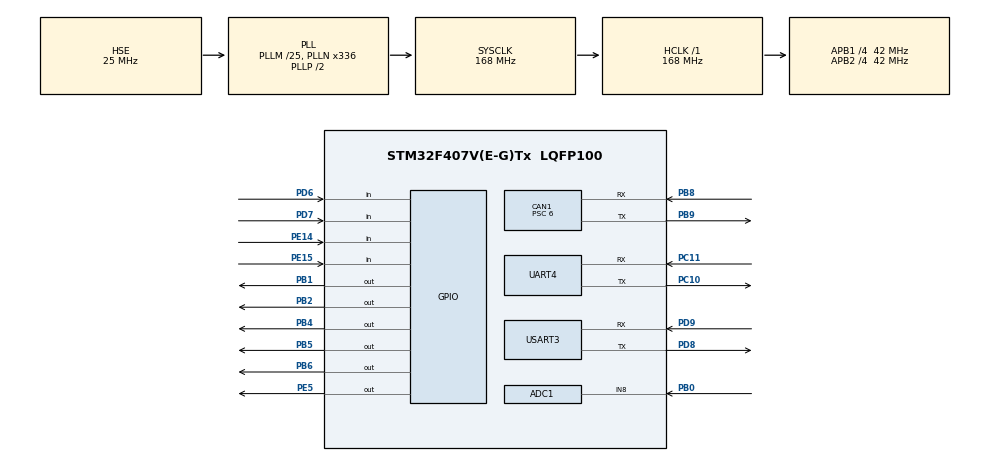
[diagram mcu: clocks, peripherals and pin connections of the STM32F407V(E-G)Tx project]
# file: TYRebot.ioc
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ADC1.Channel-0\#ChannelRegularConversion=ADC_CHANNEL_8
ADC1.ClockPrescaler=ADC_CLOCK_SYNC_PCLK_DIV4
ADC1.NbrOfConversionFlag=1
ADC1.Rank-0\#ChannelRegularConversion=1
ADC1.SamplingTime-0\#ChannelRegularConversion=ADC_SAMPLETIME_3CYCLES
ADC1.master=1
CAN1.BS1=CAN_BS1_6TQ
CAN1.BS2=CAN_BS2_7TQ
CAN1.CalculateTimeQuantum=142.85714285714286
CAN1.Prescaler=6
FREERTOS.Tasks01=CanTxDataTask,1,256,CanTxDataPro,Default,NULL,Dynamic,NULL,NULL;UartDataProTask,0,128,UartDataPro,Default,NULL,Dynamic,NULL,NULL;CanDataProTask,0,128,CanDataPro,Default,NULL,Dynamic,NULL,NULL;GetVoltageTask,-2,128,GetVoltagePro,Default,NULL,Dynamic,NULL,NULL;KeyScanTask,2,128,KeyScanPro,Default,NULL,Dynamic,NULL,NULL;UpLoadDataTask,-2,516,UpLoadDataPro,Default,NULL,Dynamic,NULL,NULL;SystemCheckTask,3,128,SystemCheckPro,Default,NULL,Dynamic,NULL,NULL
Mcu.Family=STM32F4
Mcu.Name=STM32F407V(E-G)Tx
Mcu.Package=LQFP100
NVIC.ADC_IRQn=true\:10\:0\:true\:false\:true\:false\:true\:true
NVIC.CAN1_RX0_IRQn=true\:7\:0\:true\:false\:true\:false\:true\:true
NVIC.PriorityGroup=NVIC_PRIORITYGROUP_4
NVIC.TIM3_IRQn=true\:9\:0\:true\:false\:true\:false\:true\:true
NVIC.TIM6_DAC_IRQn=true\:8\:0\:true\:false\:true\:false\:true\:true
NVIC.TIM7_IRQn=true\:0\:0\:false\:false\:true\:false\:false\:true
NVIC.TimeBase=TIM7_IRQn
NVIC.TimeBaseIP=TIM7
NVIC.UART4_IRQn=true\:6\:0\:true\:false\:true\:false\:true\:true
NVIC.USART3_IRQn=true\:5\:0\:true\:false\:true\:false\:true\:true
PA13.Mode=Serial_Wire
PA13.Signal=SYS_JTMS-SWDIO
PA14.Mode=Serial_Wire
PA14.Signal=SYS_JTCK-SWCLK
PB0.Signal=ADCx_IN8
PB1.GPIO_ModeDefaultOutputPP=GPIO_MODE_OUTPUT_PP
PB1.GPIO_PuPd=GPIO_PULLUP
PB1.GPIO_Speed=GPIO_SPEED_FREQ_LOW
PB1.PinState=GPIO_PIN_RESET
PB1.Signal=GPIO_Output
PB2.GPIO_ModeDefaultOutputPP=GPIO_MODE_OUTPUT_PP
PB2.GPIO_PuPd=GPIO_PULLUP
PB2.GPIO_Speed=GPIO_SPEED_FREQ_LOW
PB2.PinState=GPIO_PIN_RESET
PB2.Signal=GPIO_Output
PB4.GPIO_PuPd=GPIO_PULLUP
PB4.Signal=GPIO_Output
PB5.GPIO_PuPd=GPIO_PULLUP
PB5.Signal=GPIO_Output
PB6.GPIO_PuPd=GPIO_PULLUP
PB6.Signal=GPIO_Output
PB8.Mode=Master
PB8.Signal=CAN1_RX
PB9.Mode=Master
PB9.Signal=CAN1_TX
PC10.Mode=Asynchronous
PC10.Signal=UART4_TX
PC11.Mode=Asynchronous
PC11.Signal=UART4_RX
PD6.GPIO_PuPd=GPIO_PULLUP
PD6.Signal=GPIO_Input
PD7.GPIO_PuPd=GPIO_PULLUP
PD7.Signal=GPIO_Input
PD8.Mode=Asynchronous
PD8.Signal=USART3_TX
PD9.Mode=Asynchronous
PD9.Signal=USART3_RX
PE14.GPIO_PuPd=GPIO_PULLUP
PE14.Signal=GPIO_Input
PE15.GPIO_PuPd=GPIO_PULLUP
PE15.Signal=GPIO_Input
PE5.GPIO_ModeDefaultOutputPP=GPIO_MODE_OUTPUT_PP
PE5.GPIO_PuPd=GPIO_PULLUP
PE5.GPIO_Speed=GPIO_SPEED_FREQ_LOW
PE5.PinState=GPIO_PIN_RESET
PE5.Signal=GPIO_Output
PH0-OSC_IN.Mode=HSE-External-Oscillator
PH0-OSC_IN.Signal=RCC_OSC_IN
PH1-OSC_OUT.Mode=HSE-External-Oscillator
PH1-OSC_OUT.Signal=RCC_OSC_OUT
ProjectManager.HeapSize=0x200
ProjectManager.StackSize=0x400
ProjectManager.TargetToolchain=MDK-ARM V5
RCC.48MHZClocksFreq_Value=84000000
RCC.AHBFreq_Value=168000000
RCC.APB1CLKDivider=RCC_HCLK_DIV4
RCC.APB1Freq_Value=42000000
RCC.APB1TimFreq_Value=84000000
RCC.APB2CLKDivider=RCC_HCLK_DIV4
RCC.APB2Freq_Value=42000000
RCC.APB2TimFreq_Value=84000000
RCC.CortexFreq_Value=168000000
RCC.HCLKFreq_Value=168000000
RCC.HSE_VALUE=25000000
RCC.HSI_VALUE=16000000
RCC.LSE_VALUE=32768
RCC.PLLM=25
RCC.PLLN=336
RCC.PLLSourceVirtual=RCC_PLLSOURCE_HSE
RCC.SYSCLKFreq_VALUE=168000000
RCC.SYSCLKSource=RCC_SYSCLKSOURCE_PLLCLK
RCC.VCOOutputFreq_Value=336000000
SH.ADCx_IN8.0=ADC1_IN8,IN8
TIM3.Period=1000-1
TIM3.Prescaler=84-1
TIM6.Period=10000-1
TIM6.Prescaler=8400-1
UART4.VirtualMode=Asynchronous
USART3.VirtualMode=VM_ASYNC
VP_FREERTOS_VS_CMSIS_V1.Mode=CMSIS_V1
VP_SYS_VS_tim7.Mode=TIM7
VP_TIM3_VS_ClockSourceINT.Mode=Internal
VP_TIM6_VS_ClockSourceINT.Mode=Enable_Timer
board=custom

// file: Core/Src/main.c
/* USER CODE BEGIN Header */
/**
  ******************************************************************************
  * @file           : main.c
  * @brief          : Main program body
  ******************************************************************************
  * @attention
  *
  * <h2><center>&copy; Copyright (c) 2021 STMicroelectronics.
  * All rights reserved.</center></h2>
  *
  * This software component is licensed by ST under BSD 3-Clause license,
  * the "License"; You may not use this file except in compliance with the
  * License. You may obtain a copy of the License at:
  *                        opensource.org/licenses/BSD-3-Clause
  *
  ******************************************************************************
  */
/* USER CODE END Header */
#include "main.h"
#include "cmsis_os.h"
#include "adc.h"
#include "can.h"
#include "tim.h"
#include "usart.h"
#include "gpio.h"

/* USER CODE BEGIN Includes */
#include "user.h"
#include "usart.h"
/* USER CODE END Includes */

void SystemClock_Config(void);
void MX_FREERTOS_Init(void);

int main(void)
{

  /* MCU Configuration--------------------------------------------------------*/

  /* Reset of all peripherals, Initializes the Flash interface and the Systick. */
  HAL_Init();

  /* Configure the system clock */
  SystemClock_Config();

  /* Initialize all configured peripherals */
  MX_GPIO_Init();
  MX_USART3_UART_Init();
  MX_CAN1_Init();
  MX_UART4_Init();
  MX_TIM3_Init();
  MX_TIM6_Init();
  MX_ADC1_Init();
  /* USER CODE BEGIN 2 */
//  HAL_UART_Receive_IT(&huart3 ,Uart3RxBuffer,12);
//  HAL_UART_Receive_IT(&huart4 ,Uart4RxBuffer,12);
  HAL_TIM_Base_Start_IT(&htim6);
  HAL_TIM_Base_Start_IT(&htim3);
  HAL_CAN_ActivateNotification(&hcan1, CAN_IT_RX_FIFO0_MSG_PENDING);
  CAN_Config();
  __HAL_UART_ENABLE_IT(&huart3,UART_IT_RXNE);
  __HAL_UART_ENABLE_IT(&huart4,UART_IT_RXNE);
  UserInit();
  printf("Software was build at %s--%s!\n", __DATE__, __TIME__ );
  printf("System and Device initial OK!\n");
  /* USER CODE END 2 */

  /* Call init function for freertos objects (in freertos.c) */
  MX_FREERTOS_Init();
  /* Start scheduler */
  osKernelStart();

  /* We should never get here as control is now taken by the scheduler */
  /* Infinite loop */
  while (1)
  {

    /* USER CODE BEGIN 3 */
	 // inituser();
  }
  /* USER CODE END 3 */
}

void SystemClock_Config(void)
{
  RCC_OscInitTypeDef RCC_OscInitStruct = {0};
  RCC_ClkInitTypeDef RCC_ClkInitStruct = {0};

  /** Configure the main internal regulator output voltage
  */
  __HAL_RCC_PWR_CLK_ENABLE();
  __HAL_PWR_VOLTAGESCALING_CONFIG(PWR_REGULATOR_VOLTAGE_SCALE1);
  /** Initializes the RCC Oscillators according to the specified parameters
  * in the RCC_OscInitTypeDef structure.
  */
  RCC_OscInitStruct.OscillatorType = RCC_OSCILLATORTYPE_HSE;
  RCC_OscInitStruct.HSEState = RCC_HSE_ON;
  RCC_OscInitStruct.PLL.PLLState = RCC_PLL_ON;
  RCC_OscInitStruct.PLL.PLLSource = RCC_PLLSOURCE_HSE;
  RCC_OscInitStruct.PLL.PLLM = 25;
  RCC_OscInitStruct.PLL.PLLN = 336;
  RCC_OscInitStruct.PLL.PLLP = RCC_PLLP_DIV2;
  RCC_OscInitStruct.PLL.PLLQ = 4;
  if (HAL_RCC_OscConfig(&RCC_OscInitStruct) != HAL_OK)
  {
    Error_Handler();
  }
  /** Initializes the CPU, AHB and APB buses clocks
  */
  RCC_ClkInitStruct.ClockType = RCC_CLOCKTYPE_HCLK|RCC_CLOCKTYPE_SYSCLK
                              |RCC_CLOCKTYPE_PCLK1|RCC_CLOCKTYPE_PCLK2;
  RCC_ClkInitStruct.SYSCLKSource = RCC_SYSCLKSOURCE_PLLCLK;
  RCC_ClkInitStruct.AHBCLKDivider = RCC_SYSCLK_DIV1;
  RCC_ClkInitStruct.APB1CLKDivider = RCC_HCLK_DIV4;
  RCC_ClkInitStruct.APB2CLKDivider = RCC_HCLK_DIV4;

  if (HAL_RCC_ClockConfig(&RCC_ClkInitStruct, FLASH_LATENCY_5) != HAL_OK)
  {
    Error_Handler();
  }
}

void HAL_TIM_PeriodElapsedCallback(TIM_HandleTypeDef *htim)
{
  if (htim->Instance == TIM7) {
    HAL_IncTick();
  }
}

void Error_Handler(void)
{
}

/************************ (C) COPYRIGHT STMicroelectronics *****END OF FILE****/

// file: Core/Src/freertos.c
/* USER CODE BEGIN Header */
/**
  ******************************************************************************
  * File Name          : freertos.c
  * Description        : Code for freertos applications
  ******************************************************************************
  * @attention
  *
  * <h2><center>&copy; Copyright (c) 2021 STMicroelectronics.
  * All rights reserved.</center></h2>
  *
  * This software component is licensed by ST under Ultimate Liberty license
  * SLA0044, the "License"; You may not use this file except in compliance with
  * the License. You may obtain a copy of the License at:
  *                             www.st.com/SLA0044
  *
  ******************************************************************************
  */
/* USER CODE END Header */

#include "FreeRTOS.h"
#include "task.h"
#include "main.h"
#include "cmsis_os.h"

/* USER CODE BEGIN Includes */
#include "user.h"
#include "stick.h"
#include "task.h"
/* USER CODE END Includes */

/* USER CODE BEGIN PM */
QueueHandle_t Usart3RxBuffQueue;         //串口消息队列
QueueHandle_t Usart4RxBuffQueue;         //串口消息队列
SemaphoreHandle_t BinarySemaphore;	         //二值信号量句柄
EventGroupHandle_t EventGroupHandler;	   //事件标志组句柄
/* USER CODE END PM */

osThreadId CanTxDataTaskHandle;
osThreadId UartDataProTaskHandle;
osThreadId CanDataProTaskHandle;
osThreadId GetVoltageTaskHandle;
osThreadId KeyScanTaskHandle;
osThreadId UpLoadDataTaskHandle;
osThreadId SystemCheckTaskHandle;

void CanTxDataPro(void const * argument);
void UartDataPro(void const * argument);
void CanDataPro(void const * argument);
void GetVoltagePro(void const * argument);
void KeyScanPro(void const * argument);
void UpLoadDataPro(void const * argument);
void SystemCheckPro(void const * argument);

void MX_FREERTOS_Init(void); /* (MISRA C 2004 rule 8.1) */

/* GetIdleTaskMemory prototype (linked to static allocation support) */
void vApplicationGetIdleTaskMemory( StaticTask_t **ppxIdleTaskTCBBuffer, StackType_t **ppxIdleTaskStackBuffer, uint32_t *pulIdleTaskStackSize );

/* USER CODE BEGIN GET_IDLE_TASK_MEMORY */
static StaticTask_t xIdleTaskTCBBuffer;
static StackType_t xIdleStack[configMINIMAL_STACK_SIZE];

void vApplicationGetIdleTaskMemory( StaticTask_t **ppxIdleTaskTCBBuffer, StackType_t **ppxIdleTaskStackBuffer, uint32_t *pulIdleTaskStackSize )
{
  *ppxIdleTaskTCBBuffer = &xIdleTaskTCBBuffer;
  *ppxIdleTaskStackBuffer = &xIdleStack[0];
  *pulIdleTaskStackSize = configMINIMAL_STACK_SIZE;
  /* place for user code */
}
/* USER CODE END GET_IDLE_TASK_MEMORY */

void MX_FREERTOS_Init(void) {

  /* USER CODE BEGIN RTOS_QUEUES */
  /* add queues, ... */
//	Can1RxBuffQueue = xQueueCreate(1,CAN_DATA_BUFFER_SIZE);    //创建消息CanBuffer,队列项长度是串口接收缓冲区长度
	Usart3RxBuffQueue = xQueueCreate(1,UART3_RX_BUFFER_SIZE);  //创建消息串口3Buffer,队列项长度是串口接收缓冲区长度
	Usart4RxBuffQueue = xQueueCreate(1,UART4_RX_BUFFER_SIZE);  //创建消息串口3Buffer,队列项长度是串口接收缓冲区长度
	EventGroupHandler = xEventGroupCreate();	 //创建事件标志组
	BinarySemaphore   = xSemaphoreCreateBinary();
  /* USER CODE END RTOS_QUEUES */

  /* Create the thread(s) */
  /* definition and creation of CanTxDataTask */
  osThreadDef(CanTxDataTask, CanTxDataPro, osPriorityAboveNormal, 0, 256);
  CanTxDataTaskHandle = osThreadCreate(osThread(CanTxDataTask), NULL);

  /* definition and creation of UartDataProTask */
  osThreadDef(UartDataProTask, UartDataPro, osPriorityNormal, 0, 128);
  UartDataProTaskHandle = osThreadCreate(osThread(UartDataProTask), NULL);

  /* definition and creation of CanDataProTask */
  osThreadDef(CanDataProTask, CanDataPro, osPriorityNormal, 0, 128);
  CanDataProTaskHandle = osThreadCreate(osThread(CanDataProTask), NULL);

  /* definition and creation of GetVoltageTask */
  osThreadDef(GetVoltageTask, GetVoltagePro, osPriorityLow, 0, 128);
  GetVoltageTaskHandle = osThreadCreate(osThread(GetVoltageTask), NULL);

  /* definition and creation of KeyScanTask */
  osThreadDef(KeyScanTask, KeyScanPro, osPriorityHigh, 0, 128);
  KeyScanTaskHandle = osThreadCreate(osThread(KeyScanTask), NULL);

  /* definition and creation of UpLoadDataTask */
  osThreadDef(UpLoadDataTask, UpLoadDataPro, osPriorityLow, 0, 516);
  UpLoadDataTaskHandle = osThreadCreate(osThread(UpLoadDataTask), NULL);

  /* definition and creation of SystemCheckTask */
  osThreadDef(SystemCheckTask, SystemCheckPro, osPriorityRealtime, 0, 128);
  SystemCheckTaskHandle = osThreadCreate(osThread(SystemCheckTask), NULL);

}

void CanTxDataPro(void const * argument)
{
  /* USER CODE BEGIN CanTxDataPro */
  /* Infinite loop */
  for(;;)
  {

	TransExternalCmdToInternalCmd();
	GetMotorObjectAngleAndSpeed();
	taskENTER_CRITICAL();           //进入临界区
	CtrlMotor();
	taskEXIT_CRITICAL();            //退出临界区
    osDelay(1);
  }
  /* USER CODE END CanTxDataPro */
}

void UartDataPro(void const * argument)
{
  /* USER CODE BEGIN UartDataPro */
	uint8_t Uart3Data[UART3_RX_BUFFER_SIZE] = {0};
	uint8_t Uart4Data[UART4_RX_BUFFER_SIZE] = {0};
  /* Infinite loop */
  for(;;)
  {
	if(Usart3RxBuffQueue != NULL)
	{
		if(xQueueReceive(Usart3RxBuffQueue,Uart3Data,1))   //队列创建成功
		{
			UnpackRemoteCmd(Uart3Data,UART3_RX_BUFFER_SIZE);
		}
	}
	if(Usart4RxBuffQueue != NULL)
	{
		if(xQueueReceive(Usart4RxBuffQueue,Uart4Data,1))   //队列创建成功
		{
			UnpackRemoteCmd(Uart4Data,UART4_RX_BUFFER_SIZE);
		}
	}
    osDelay(5);
  }
  /* USER CODE END UartDataPro */
}

void CanDataPro(void const * argument)
{
  /* USER CODE BEGIN CanDataPro */
  /* Infinite loop */
  BaseType_t err=pdFALSE;
  for(;;)
  {
	  if(BinarySemaphore!=NULL)
	  {
		err=xSemaphoreTake(BinarySemaphore,10);	//获取信号量
		if(err==pdTRUE)										//获取信号量成功
		{
			CANDataRxPro();
			GetAllMotorState();
			GetWalkPhase();
		}
	  }
	  else
	  {
		 osDelay(1);
	  }
  }
  /* USER CODE END CanDataPro */
}

void GetVoltagePro(void const * argument)
{
  /* USER CODE BEGIN GetVoltagePro */
  /* Infinite loop */
  for(;;)
  {

	//GetBatteryVoltage();
	HAL_GPIO_TogglePin(GPIOB,GPIO_PIN_1);HAL_GPIO_TogglePin(GPIOB,GPIO_PIN_2);HAL_GPIO_TogglePin(GPIOE,GPIO_PIN_5);
    osDelay(500);
  }
  /* USER CODE END GetVoltagePro */
}

void KeyScanPro(void const * argument)
{
  /* USER CODE BEGIN KeyScanPro */
  /* Infinite loop */
  for(;;)
  {
	KeyTypeJudge();
    osDelay(5);
  }
  /* USER CODE END KeyScanPro */
}

void UpLoadDataPro(void const * argument)
{
  /* USER CODE BEGIN UpLoadDataPro */
  /* Infinite loop */
  for(;;)
  {
	UpLoadAppDataPro();
    osDelay(1000);
  }
  /* USER CODE END UpLoadDataPro */
}

void SystemCheckPro(void const * argument)
{
  /* USER CODE BEGIN SystemCheckPro */
  /* Infinite loop */
  for(;;)
  {
		STATUS_ENUM SystemState;
		SystemState = CheckStatus();
		if(SystemState == STATUS_NORMAL)
		{
			//HAL_GPIO_WritePin(GPIOE,GPIO_PIN_5,GPIO_PIN_RESET);
			vTaskResume(CanTxDataTaskHandle);

		}
		else
		{
			//HAL_GPIO_WritePin(GPIOE,GPIO_PIN_5,GPIO_PIN_SET);
			NowWalkPhase_g = ERROR_WALK_PHASE;
			NextWalkPhase_g = ERROR_WALK_PHASE;
			LastWalkPhase_g = ERROR_WALK_PHASE;
			SetExternalCtrlCmd( TO_KEEP );
			vTaskSuspend(CanTxDataTaskHandle);
		}
		osDelay(10);
  }
  /* USER CODE END SystemCheckPro */
}

/************************ (C) COPYRIGHT STMicroelectronics *****END OF FILE****/
